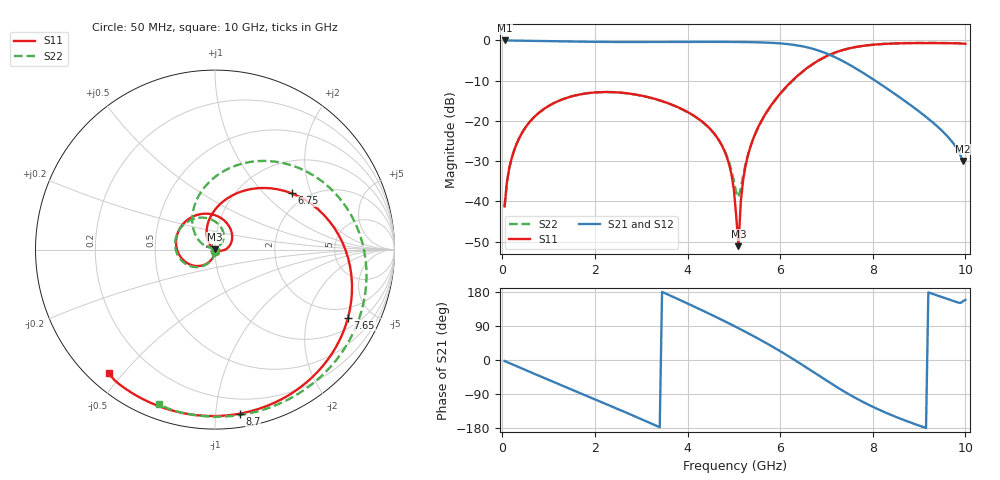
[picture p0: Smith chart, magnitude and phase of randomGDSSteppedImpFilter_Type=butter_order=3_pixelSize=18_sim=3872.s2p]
! freq	dB(S11)	phase(S11)	dB(S12)	phase(S12)
!  dB(S21)	phase(S21)	dB(S22)	phase(S22)
!S-par simulation data
#  GHz  S  DB  R 50
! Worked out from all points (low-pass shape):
!   200 points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, 50 MHz to 10 GHz, reference 50 ohm
!   highest |S21| = 0.00 dB at 50 MHz (marker M1); lowest = -29.9 dB at 9.95 GHz (marker M2)
!   |S21| within 3 dB of the highest: start of sweep to 6.949 GHz
!   lowest |S11| = -51.1 dB at 5.1 GHz (marker M3), VSWR 1.01, Z = 50 + j0.276 ohm
!   |S11| at or under -10 dB: start of sweep to 6.261 GHz
!   |S22| runs from -41.3 to -0.6 dB; largest |S21 - S12| = 0
!   S11 on the Smith chart (normalised r, x): 50 MHz: 1.00, -0.02; 6.75 GHz: 1.69, +1.47; 7.65 GHz: 1.46, -3.60; 8.7 GHz: 0.09, -1.16; 10 GHz: 0.06, -0.46
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0.05  -41.26 -92.1  -0.00 -2.7  -0.00 -2.7  -41.26 -91.9
0.2  -29.39 -100.1  -0.03 -10.6  -0.03 -10.6  -29.38 -99.4
0.5  -21.63 -117.8  -0.07 -26.3  -0.07 -26.3  -21.63 -115.8
1.75  -13.28 174.2  -0.32 -90.9  -0.32 -90.9  -13.28 -177.8
2.5  -12.92 132.8  -0.38 -129.6  -0.38 -129.6  -12.93 146.2
3.4  -14.90 80.2  -0.37 -177.5  -0.37 -177.5  -14.93 103.4
4  -17.79 43.0  -0.35 149.1  -0.35 149.1  -17.84 74.9
4.65  -24.33 2.1  -0.35 111.4  -0.35 111.4  -24.31 46.1
4.9  -30.90 -12.2  -0.37 96.3  -0.37 96.3  -30.39 43.1
5.05  -43.52 -9.8  -0.38 87.0  -0.38 87.0  -37.79 72.6
5.1  -51.14 95.8  -0.38 83.9  -0.38 83.9  -38.95 106.1
5.2  -34.74 139.0  -0.40 77.6  -0.40 77.6  -33.59 151.1
5.45  -23.51 126.8  -0.45 61.4  -0.45 61.4  -23.59 157.9
6.1  -11.91 83.9  -0.83 16.0  -0.83 16.0  -12.04 119.1
6.7  -5.89 40.0  -2.06 -30.5  -2.06 -30.5  -5.97 72.4
6.75  -5.51 36.3  -2.23 -34.5  -2.23 -34.5  -5.60 68.4
7.15  -3.17 6.7  -3.97 -65.9  -3.97 -65.9  -3.22 36.3
7.65  -1.59 -27.0  -7.06 -101.7  -7.06 -101.7  -1.61 -0.3
8.35  -0.80 -65.4  -12.29 -142.6  -12.29 -142.6  -0.79 -41.8
8.7  -0.68 -81.4  -15.10 -159.7  -15.10 -159.7  -0.66 -58.8
9.95  -0.79 -129.2  -29.95 155.2  -29.95 155.2  -0.74 -108.4
10  -0.83 -130.7  -29.69 158.7  -29.69 158.7  -0.78 -109.8
